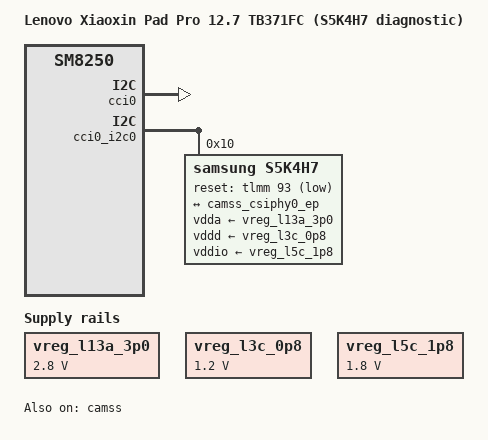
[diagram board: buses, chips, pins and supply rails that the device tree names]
// SPDX-License-Identifier: GPL-2.0-only
/*
 * Temporary, non-installable TB371FC rear S5K4H7 identification variant.
 *
 * Boot this DTB only after Android inventory identifies the OFILM S5K4H7
 * module. It enables CAMSS, CCI0 master 0 and only the three sensor rails; it
 * does not enable the autofocus actuator, EEPROM or flash. Never replace the
 * normal DTB with this file and never flash it to a boot slot.
 */

#include <dt-bindings/media/video-interfaces.h>
#include "sm8250-lenovo-tb371fc.dts"

/ {
	model = "Lenovo Xiaoxin Pad Pro 12.7 TB371FC (S5K4H7 diagnostic)";
};

&vreg_l13a_3p0 {
	regulator-min-microvolt = <2800000>;
	regulator-max-microvolt = <2800000>;
};

&vreg_l3c_0p8 {
	regulator-min-microvolt = <1200000>;
	regulator-max-microvolt = <1200000>;
};

&vreg_l5c_1p8 {
	regulator-min-microvolt = <1800000>;
	regulator-max-microvolt = <1800000>;
};

&camss {
	vdda-phy-supply = <&vreg_l5a_0p88>;
	vdda-pll-supply = <&vreg_l9a_1p2>;
	status = "okay";

	ports {
		port@0 {
			camss_csiphy0_ep: endpoint {
				bus-type = <MEDIA_BUS_TYPE_CSI2_DPHY>;
				clock-lanes = <7>;
				data-lanes = <0 1 2 3>;
				remote-endpoint = <&s5k4h7_ep>;
			};
		};
	};
};

&cci0 {
	status = "okay";
};

&cci0_i2c0 {
	s5k4h7: camera@10 {
		compatible = "samsung,s5k4h7";
		reg = <0x10>;

		clocks = <&camcc CAM_CC_MCLK0_CLK>;
		assigned-clocks = <&camcc CAM_CC_MCLK0_CLK>;
		assigned-clock-rates = <24000000>;

		pinctrl-names = "default";
		pinctrl-0 = <&cam0_default>;
		reset-gpios = <&tlmm 93 GPIO_ACTIVE_LOW>;

		vdda-supply = <&vreg_l13a_3p0>;
		vddd-supply = <&vreg_l3c_0p8>;
		vddio-supply = <&vreg_l5c_1p8>;

		port {
			s5k4h7_ep: endpoint {
				clock-lanes = <0>;
				data-lanes = <1 2 3 4>;
				link-frequencies = /bits/ 64 <366000000>;
				remote-endpoint = <&camss_csiphy0_ep>;
			};
		};
	};
};

&tlmm {
	cam0_default: cam0-default-state {
		reset-pins {
			pins = "gpio93";
			function = "gpio";
			drive-strength = <2>;
			bias-pull-down;
		};

		mclk-pins {
			pins = "gpio94";
			function = "cam_mclk";
			drive-strength = <16>;
			bias-disable;
		};
	};
};
